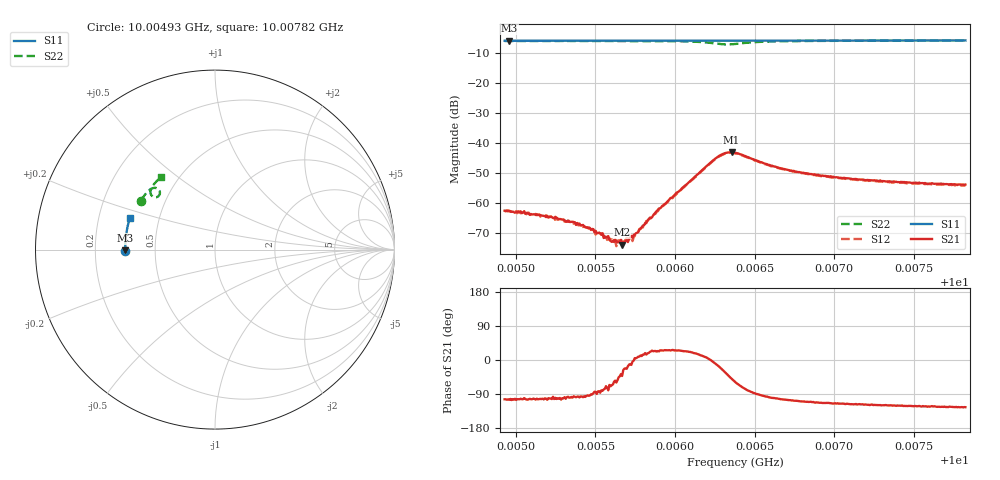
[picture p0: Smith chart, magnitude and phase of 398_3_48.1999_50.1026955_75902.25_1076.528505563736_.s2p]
#  HZ  S  RI  R  50.00
! Rohde & Schwarz Vector Network Analyzer
! Rohde-Schwarz,ZNB20-2Port,1311601062101988,3.16
! Created: UTC 3/20/2024, 11:53:55 AM
! freq[Hz]  re:S11  im:S11  re:S21  im:S21  re:S12  im:S12  re:S22  im:S22
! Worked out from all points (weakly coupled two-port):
!   401 points, 10.00493 GHz to 10.00782 GHz, reference 50 ohm
!   highest |S21| = -43.09 dB at 10.00636 GHz (marker M1); lowest = -73.8 dB at 10.00567 GHz (marker M2)
!   lowest |S11| = -6.0 dB at 10.00496 GHz (marker M3), VSWR 2.99, Z = 16.7 - j0.216 ohm
!   |S11| at or under -10 dB: nowhere
!   |S22| runs from -7.3 to -6.0 dB; largest |S21 - S12| = 0.00039
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1.000493e10  -0.4994 -0.0068  -0.000177 -0.000726  -0.000126 -0.000729  -0.4118 0.2733
1.0004959e10  -0.4993 -0.00486  -0.000193 -0.000717  -0.000131 -0.000735  -0.4109 0.2751
1.0005205e10  -0.4999 0.0111  -0.000109 -0.00057  -0.000114 -0.000561  -0.4015 0.2896
1.0005415e10  -0.4999 0.0246  -4.63e-05 -0.00042  -2.5e-06 -0.000413  -0.393 0.3021
1.0005509e10  -0.4997 0.0308  2.53e-06 -0.000318  4.22e-05 -0.000319  -0.3887 0.3079
1.0005531e10  -0.4996 0.0324  2.05e-05 -0.000312  5.33e-05 -0.000306  -0.3877 0.3091
1.0005567e10  -0.4994 0.0346  9.55e-05 -0.000249  6.53e-05 -0.000272  -0.3859 0.3114
1.0005603e10  -0.4995 0.0369  8.99e-05 -0.000207  0.000101 -0.000228  -0.3841 0.3136
1.0005617e10  -0.4995 0.0379  0.000122 -0.00019  0.000138 -0.000204  -0.3833 0.3144
1.0005668e10  -0.4992 0.041  0.000151 -0.000137  0.000166 -0.000133  -0.3807 0.3176
1.0005697e10  -0.4991 0.043  0.00022 -9.46e-05  0.000244 -9.89e-05  -0.3791 0.3195
1.0005748e10  -0.499 0.0462  0.000298 2.56e-05  0.000284 1.54e-05  -0.3761 0.3227
1.000582e10  -0.4986 0.0509  0.000447 0.000114  0.000473 0.000167  -0.3715 0.3271
1.0005899e10  -0.4981 0.0561  0.00075 0.000315  0.000707 0.000342  -0.3655 0.3325
1.0006247e10  -0.4954 0.0784  0.00524 -0.000659  0.00518 -0.000364  -0.3104 0.3302
1.0006304e10  -0.4949 0.082  0.00582 -0.00313  0.00586 -0.0028  -0.3084 0.308
1.0006355e10  -0.4943 0.0849  0.00456 -0.00531  0.00473 -0.00496  -0.3232 0.2929
1.0006377e10  -0.4942 0.0862  0.00369 -0.0058  0.00389 -0.00547  -0.3313 0.2912
1.0006615e10  -0.4924 0.1014  -0.000731 -0.00404  -0.000544 -0.00399  -0.3591 0.3288
1.0006861e10  -0.4895 0.117  -0.0011 -0.0028  -0.000919 -0.00282  -0.3487 0.3527
1.0007346e10  -0.4822 0.1476  -0.00115 -0.002  -0.00101 -0.00197  -0.3244 0.3817
1.0007823e10  -0.4733 0.1768  -0.00115 -0.00168  -0.00107 -0.00168  -0.3 0.404
